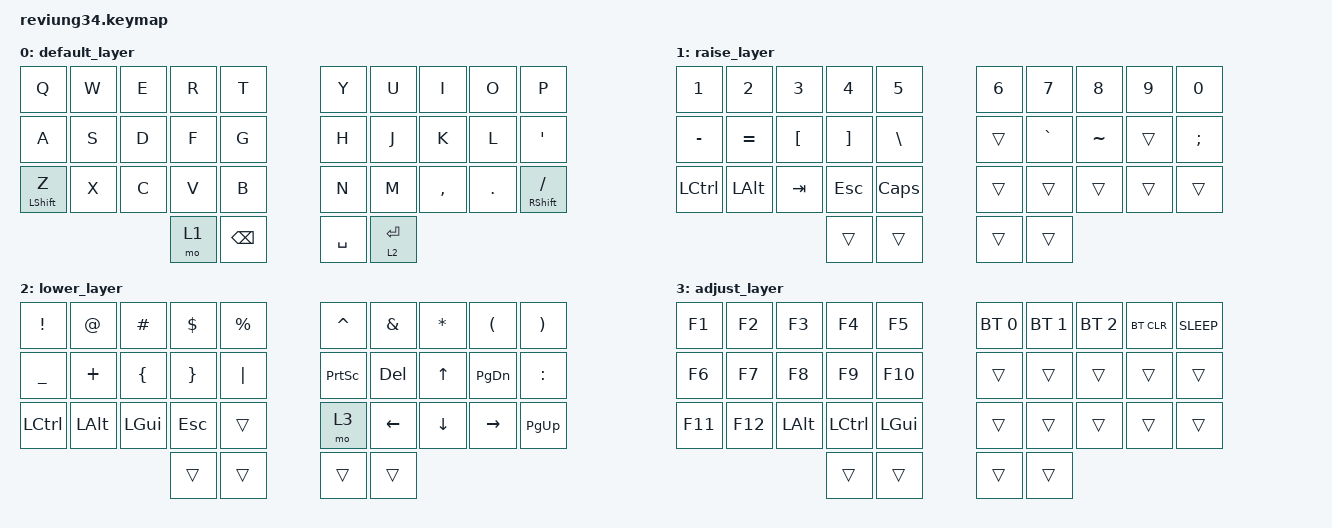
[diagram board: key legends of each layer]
#include <behaviors.dtsi>
#include <dt-bindings/zmk/keys.h>
#include <dt-bindings/zmk/bt.h>
#include <dt-bindings/zmk/rgb.h>

#define default 0
#define raise 1
#define lower 2
#define adjust 2

&mt {
    retro-tap;
};

/ {
        keymap {
                compatible = "zmk,keymap";

                 default_layer {
// ------------------------------------------------------------------
// |  Q  |  W  |  E  |  R  |  T  |   |  Y  |  U   |  I  |  O  |  P  |
// |  A  |  S  |  D  |  F  |  G  |   |  H  |  J   |  K  |  L  |  '  |
// |  Z  |  X  |  C  |  V  |  B  |   |  N  |  M   |  ,  |  .  |  /  | 
//          | LOWER | BSPC | SPC |   | RETURN |
                 bindings = <
   &kp Q &kp W &kp E &kp R &kp T   &kp Y &kp U  &kp I     &kp O   &kp P    
   &kp A &kp S &kp D &kp F &kp G   &kp H &kp J  &kp K     &kp L   &kp APOS 
   &mt LSHIFT Z &kp X &kp C &kp V &kp B   &kp N &kp M  &kp COMMA &kp DOT &mt RSHIFT FSLH 
               &mo 1  &kp BSPC &kp SPACE &lt 2 RET
                        >;
                };
                 raise_layer {
// ------------------------------------------------------------------
// |  1  |  2  |  3  |  4  |  5  |   |  6  |  7  |  8  |  9  |  0  |
// |  -  |  =  |  [  |  ]  |  \  |   |     |  `  |  ~  |     |  ;  |
// | crl | alt | tab | esc | cap |   |     |     |     |     |     | 
//             |     |     |     |   |           |
                 bindings = <
   &kp N1 &kp N2 &kp N3 &kp N4 &kp N5                &kp N6 &kp N7  &kp N8 &kp N9 &kp N0    
   &kp MINUS &kp EQUAL &kp LBKT &kp RBKT &kp BSLH    &trans &kp GRAVE &kp TILDE &trans &kp SEMI 
   &kp LCTRL &kp LALT &kp TAB &kp ESC &kp CAPS       &trans  &trans  &trans  &trans  &trans  
                        &trans  &trans &trans    &trans
                        >;
                 };
                 lower_layer {
// ------------------------------------------------------------------
// |  !  |  @  |  #  |  $  |  %  |   |  ^  |  &  |  *  |  (  |  )  |
// |  -  |  =  |  [  |  ]  |  \  |   |LEFT |DOWN | UP  |RIGHT|  :  |
// | CRL | ALT | TAB | ESC | CAP |   | MO3 |PSCRN| DEL |PGDN |PGUP | 
//             |     |     |     |   |           |
                 bindings = <
   &kp EXCL &kp AT &kp HASH &kp DLLR &kp PRCNT    &kp CARET &kp AMPS  &kp STAR &kp LPAR &kp RPAR   
   &kp UNDER &kp PLUS &kp LBRC &kp RBRC &kp PIPE  &kp PSCRN &kp DEL &kp UP &kp PG_DN &kp COLON 
   &kp LCTRL &kp LALT &kp LGUI &kp ESC &trans     &mo 3 &kp LEFT  &kp DOWN  &kp RIGHT  &kp PG_UP
                        &trans  &trans &trans    &trans
                        >;
                 };
                 adjust_layer {
// ------------------------------------------------------------------
// |  F1  |  F2  |  F3  |  F4  |  F5  |   |    |    |    |    |    |
// |  F6  |  F7  |  F8  |  F9  |  F10 |   |    |    |    |    |    |
// | F11  | F12  |  ALT | CTRL |  GUI |   |    |    |    |    |    | 
//                  |     |     |     |   |         |
                 bindings = <
   &kp F1 &kp F2 &kp F3 &kp F4 &kp F5            &bt BT_SEL 0  &bt BT_SEL 1 &bt BT_SEL 2 &bt BT_CLR &kp K_SLEEP
   &kp F6 &kp F7 &kp F8 &kp F9 &kp F10           &trans &trans &trans &trans &trans 
   &kp F11 &kp F12 &kp LALT &kp LCTRL &kp LGUI    &trans &trans &trans &trans &trans 
                        &trans &trans &trans          &trans 
                        >;
                 };
         };
 };
